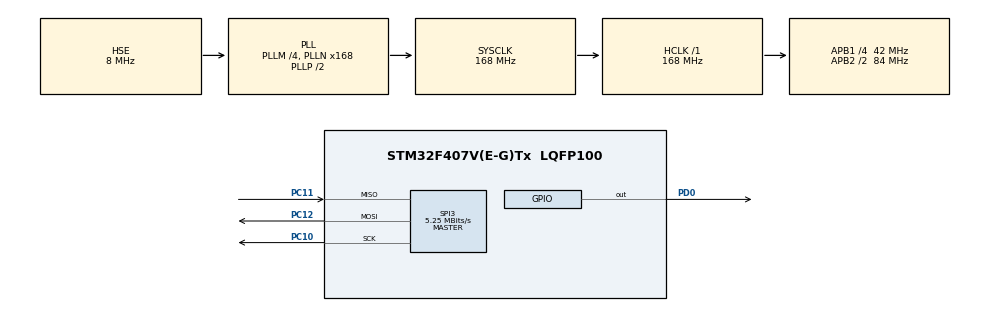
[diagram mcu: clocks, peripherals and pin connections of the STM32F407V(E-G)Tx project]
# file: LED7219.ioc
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Mcu.Family=STM32F4
Mcu.Name=STM32F407V(E-G)Tx
Mcu.Package=LQFP100
NVIC.PriorityGroup=NVIC_PRIORITYGROUP_4
PC10.Mode=Full_Duplex_Master
PC10.Signal=SPI3_SCK
PC11.Mode=Full_Duplex_Master
PC11.Signal=SPI3_MISO
PC12.Mode=Full_Duplex_Master
PC12.Signal=SPI3_MOSI
PD0.Signal=GPIO_Output
PH0-OSC_IN.Mode=HSE-External-Oscillator
PH0-OSC_IN.Signal=RCC_OSC_IN
PH1-OSC_OUT.Mode=HSE-External-Oscillator
PH1-OSC_OUT.Signal=RCC_OSC_OUT
ProjectManager.HeapSize=0x200
ProjectManager.StackSize=0x400
ProjectManager.TargetToolchain=MDK-ARM V5
RCC.48MHZClocksFreq_Value=84000000
RCC.AHBFreq_Value=168000000
RCC.APB1CLKDivider=RCC_HCLK_DIV4
RCC.APB1Freq_Value=42000000
RCC.APB1TimFreq_Value=84000000
RCC.APB2CLKDivider=RCC_HCLK_DIV2
RCC.APB2Freq_Value=84000000
RCC.APB2TimFreq_Value=168000000
RCC.CortexFreq_Value=168000000
RCC.HCLKFreq_Value=168000000
RCC.HSE_VALUE=8000000
RCC.HSI_VALUE=16000000
RCC.LSE_VALUE=32768
RCC.PLLM=4
RCC.PLLN=168
RCC.PLLSourceVirtual=RCC_PLLSOURCE_HSE
RCC.SYSCLKFreq_VALUE=168000000
RCC.SYSCLKSource=RCC_SYSCLKSOURCE_PLLCLK
RCC.VCOOutputFreq_Value=336000000
SPI3.BaudRatePrescaler=SPI_BAUDRATEPRESCALER_8
SPI3.CalculateBaudRate=5.25 MBits/s
SPI3.Mode=SPI_MODE_MASTER
board=LED7219

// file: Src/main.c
/**
  ******************************************************************************
  * File Name          : main.c
  * Description        : Main program body
  ******************************************************************************
  *
  * COPYRIGHT(c) 2016 STMicroelectronics
  *
  * Redistribution and use in source and binary forms, with or without modification,
  * are permitted provided that the following conditions are met:
  *   1. Redistributions of source code must retain the above copyright notice,
  *      this list of conditions and the following disclaimer.
  *   2. Redistributions in binary form must reproduce the above copyright notice,
  *      this list of conditions and the following disclaimer in the documentation
  *      and/or other materials provided with the distribution.
  *   3. Neither the name of STMicroelectronics nor the names of its contributors
  *      may be used to endorse or promote products derived from this software
  *      without specific prior written permission.
  *
  * THIS SOFTWARE IS PROVIDED BY THE COPYRIGHT HOLDERS AND CONTRIBUTORS "AS IS"
  * AND ANY EXPRESS OR IMPLIED WARRANTIES, INCLUDING, BUT NOT LIMITED TO, THE
  * IMPLIED WARRANTIES OF MERCHANTABILITY AND FITNESS FOR A PARTICULAR PURPOSE ARE
  * DISCLAIMED. IN NO EVENT SHALL THE COPYRIGHT HOLDER OR CONTRIBUTORS BE LIABLE
  * FOR ANY DIRECT, INDIRECT, INCIDENTAL, SPECIAL, EXEMPLARY, OR CONSEQUENTIAL
  * DAMAGES (INCLUDING, BUT NOT LIMITED TO, PROCUREMENT OF SUBSTITUTE GOODS OR
  * SERVICES; LOSS OF USE, DATA, OR PROFITS; OR BUSINESS INTERRUPTION) HOWEVER
  * CAUSED AND ON ANY THEORY OF LIABILITY, WHETHER IN CONTRACT, STRICT LIABILITY,
  * OR TORT (INCLUDING NEGLIGENCE OR OTHERWISE) ARISING IN ANY WAY OUT OF THE USE
  * OF THIS SOFTWARE, EVEN IF ADVISED OF THE POSSIBILITY OF SUCH DAMAGE.
  *
  ******************************************************************************
  */
#include "stm32f4xx_hal.h"

/* USER CODE BEGIN Includes */
#include "main.h"
/* USER CODE END Includes */

SPI_HandleTypeDef hspi3;

/* USER CODE BEGIN PV */
/* Private variables ---------------------------------------------------------*/
/* USER CODE END PV */

void SystemClock_Config(void);
void Error_Handler(void);
static void MX_GPIO_Init(void);
static void MX_SPI3_Init(void);

/* USER CODE BEGIN PFP */
/* Private function prototypes -----------------------------------------------*/

/* USER CODE END PFP */

int main(void)
{

  /* USER CODE BEGIN 1 */
	uint32_t i=0;
  /* USER CODE END 1 */

  /* MCU Configuration----------------------------------------------------------*/

  /* Reset of all peripherals, Initializes the Flash interface and the Systick. */
  HAL_Init();

  /* Configure the system clock */
  SystemClock_Config();

  /* Initialize all configured peripherals */
  MX_GPIO_Init();
  MX_SPI3_Init();

  /* USER CODE BEGIN 2 */
	HAL_Delay(200);
	Init_7219();
	Send_7219(1,0x01);//1
	Send_7219(2,0x02);//2
	Send_7219(3,0x03);//3
	Send_7219(4,0x04);//4
	Send_7219(5,0x05);//5
	Send_7219(6,0x06);//6
	Send_7219(7,0x07);//7
	Send_7219(8,0x08);//8
	HAL_Delay(2000);
	Clear_7219();
	Number_7219(-4356);//попытаемся вывести отрицательное значение
	HAL_Delay(2000);
	Clear_7219();
  /* USER CODE END 2 */

  /* Infinite loop */
  /* USER CODE BEGIN WHILE */
  while (1)
  {
		Number_7219(i);
		HAL_Delay(200);
		i++;
  /* USER CODE END WHILE */

  }

}

/** System Clock Configuration
*/
void SystemClock_Config(void)
{

  RCC_OscInitTypeDef RCC_OscInitStruct;
  RCC_ClkInitTypeDef RCC_ClkInitStruct;

  __HAL_RCC_PWR_CLK_ENABLE();

  __HAL_PWR_VOLTAGESCALING_CONFIG(PWR_REGULATOR_VOLTAGE_SCALE1);

  RCC_OscInitStruct.OscillatorType = RCC_OSCILLATORTYPE_HSE;
  RCC_OscInitStruct.HSEState = RCC_HSE_ON;
  RCC_OscInitStruct.PLL.PLLState = RCC_PLL_ON;
  RCC_OscInitStruct.PLL.PLLSource = RCC_PLLSOURCE_HSE;
  RCC_OscInitStruct.PLL.PLLM = 4;
  RCC_OscInitStruct.PLL.PLLN = 168;
  RCC_OscInitStruct.PLL.PLLP = RCC_PLLP_DIV2;
  RCC_OscInitStruct.PLL.PLLQ = 4;
  if (HAL_RCC_OscConfig(&RCC_OscInitStruct) != HAL_OK)
  {
    Error_Handler();
  }

  RCC_ClkInitStruct.ClockType = RCC_CLOCKTYPE_HCLK|RCC_CLOCKTYPE_SYSCLK
                              |RCC_CLOCKTYPE_PCLK1|RCC_CLOCKTYPE_PCLK2;
  RCC_ClkInitStruct.SYSCLKSource = RCC_SYSCLKSOURCE_PLLCLK;
  RCC_ClkInitStruct.AHBCLKDivider = RCC_SYSCLK_DIV1;
  RCC_ClkInitStruct.APB1CLKDivider = RCC_HCLK_DIV4;
  RCC_ClkInitStruct.APB2CLKDivider = RCC_HCLK_DIV2;
  if (HAL_RCC_ClockConfig(&RCC_ClkInitStruct, FLASH_LATENCY_5) != HAL_OK)
  {
    Error_Handler();
  }

  HAL_SYSTICK_Config(HAL_RCC_GetHCLKFreq()/1000);

  HAL_SYSTICK_CLKSourceConfig(SYSTICK_CLKSOURCE_HCLK);

  /* SysTick_IRQn interrupt configuration */
  HAL_NVIC_SetPriority(SysTick_IRQn, 0, 0);
}

/* SPI3 init function */
static void MX_SPI3_Init(void)
{

  hspi3.Instance = SPI3;
  hspi3.Init.Mode = SPI_MODE_MASTER;
  hspi3.Init.Direction = SPI_DIRECTION_2LINES;
  hspi3.Init.DataSize = SPI_DATASIZE_8BIT;
  hspi3.Init.CLKPolarity = SPI_POLARITY_LOW;
  hspi3.Init.CLKPhase = SPI_PHASE_1EDGE;
  hspi3.Init.NSS = SPI_NSS_SOFT;
  hspi3.Init.BaudRatePrescaler = SPI_BAUDRATEPRESCALER_8;
  hspi3.Init.FirstBit = SPI_FIRSTBIT_MSB;
  hspi3.Init.TIMode = SPI_TIMODE_DISABLE;
  hspi3.Init.CRCCalculation = SPI_CRCCALCULATION_DISABLE;
  hspi3.Init.CRCPolynomial = 10;
  if (HAL_SPI_Init(&hspi3) != HAL_OK)
  {
    Error_Handler();
  }

}

/** Configure pins as
        * Analog
        * Input
        * Output
        * EVENT_OUT
        * EXTI
*/
static void MX_GPIO_Init(void)
{

  GPIO_InitTypeDef GPIO_InitStruct;

  /* GPIO Ports Clock Enable */
  __HAL_RCC_GPIOH_CLK_ENABLE();
  __HAL_RCC_GPIOC_CLK_ENABLE();
  __HAL_RCC_GPIOD_CLK_ENABLE();

  /*Configure GPIO pin Output Level */
  HAL_GPIO_WritePin(GPIOD, GPIO_PIN_0, GPIO_PIN_RESET);

  /*Configure GPIO pin : PD0 */
  GPIO_InitStruct.Pin = GPIO_PIN_0;
  GPIO_InitStruct.Mode = GPIO_MODE_OUTPUT_PP;
  GPIO_InitStruct.Pull = GPIO_NOPULL;
  GPIO_InitStruct.Speed = GPIO_SPEED_FREQ_LOW;
  HAL_GPIO_Init(GPIOD, &GPIO_InitStruct);

}

void Error_Handler(void)
{
  while(1)
  {
  }
}

/************************ (C) COPYRIGHT STMicroelectronics *****END OF FILE****/
